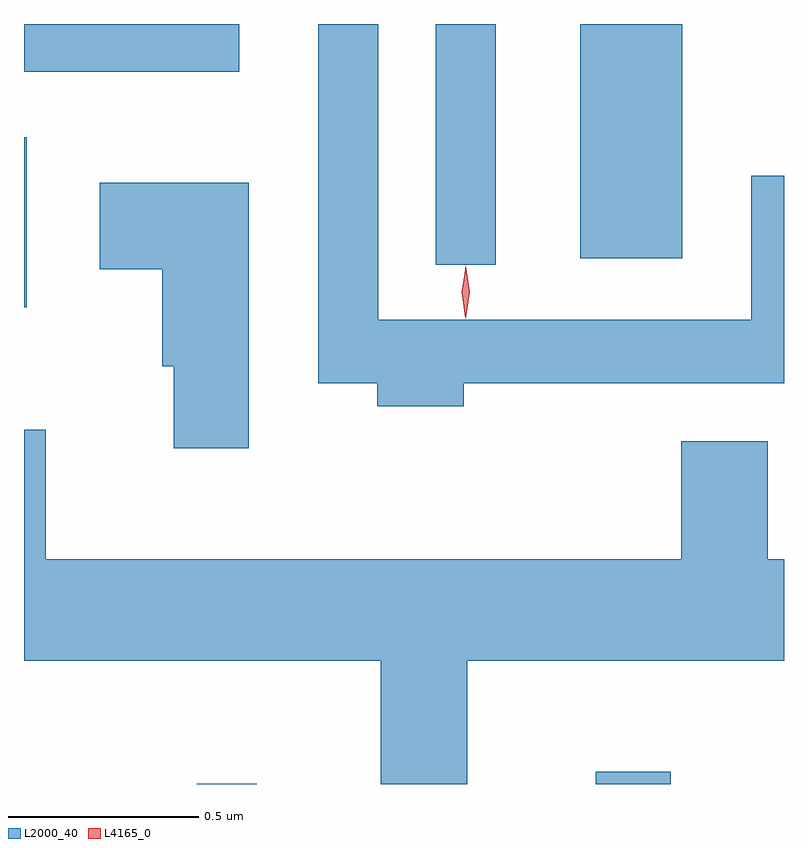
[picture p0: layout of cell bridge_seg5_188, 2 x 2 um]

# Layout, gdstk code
import gdstk
lib = gdstk.Library(unit=1e-6, precision=1e-09)
def R(c, l, rs):  # rectangles x0, y0, x1, y1
    for r in rs: c.add(gdstk.rectangle(r[:2], r[2:], *l))
def P(c, l, *ps):  # polygons
    for p in ps: c.add(gdstk.Polygon(p, *l))
L2000_40 = (2000, 40)
L4165_0 = (4165, 0)

bridge_seg5_188 = lib.new_cell('bridge_seg5_188')
R(bridge_seg5_188, L2000_40, [(1330.536,1432.052,1330.694,1432.053), (1331.586,1432.052,1331.784,1432.084), (1330.082,1433.306,1330.089,1433.754), (1331.166,1433.418,1331.324,1434.052), (1331.546,1433.436,1331.814,1434.052), (1330.082,1433.926,1330.649,1434.052)])
P(bridge_seg5_188, L2000_40, [(1331.239,1433.106),(1332.082,1433.106),(1332.082,1433.653),(1331.996,1433.653),(1331.996,1433.274),(1331.014,1433.274),(1331.014,1434.052),(1330.856,1434.052),(1330.856,1433.106),(1331.011,1433.106),(1331.011,1433.046),(1331.239,1433.046)],
  [(1330.674,1433.634),(1330.281,1433.634),(1330.281,1433.406),(1330.446,1433.406),(1330.446,1433.151),(1330.476,1433.151),(1330.476,1432.936),(1330.674,1432.936)],
  [(1331.249,1432.376),(1332.082,1432.376),(1332.082,1432.644),(1332.039,1432.644),(1332.039,1432.954),(1331.811,1432.954),(1331.811,1432.644),(1330.139,1432.644),(1330.139,1432.984),(1330.082,1432.984),(1330.082,1432.376),(1331.021,1432.376),(1331.021,1432.052),(1331.249,1432.052)])
P(bridge_seg5_188, L4165_0, [(1331.244,1433.277),(1331.235,1433.347),(1331.244,1433.416),(1331.245,1433.416),(1331.245,1433.416),(1331.255,1433.347),(1331.245,1433.277),(1331.245,1433.277)],
  [(1331.243,1433.28),(1331.234,1433.346),(1331.244,1433.412),(1331.244,1433.413),(1331.245,1433.412),(1331.254,1433.346),(1331.244,1433.28),(1331.244,1433.28)])

lib.write_gds('bridge_seg5_188.gds')
